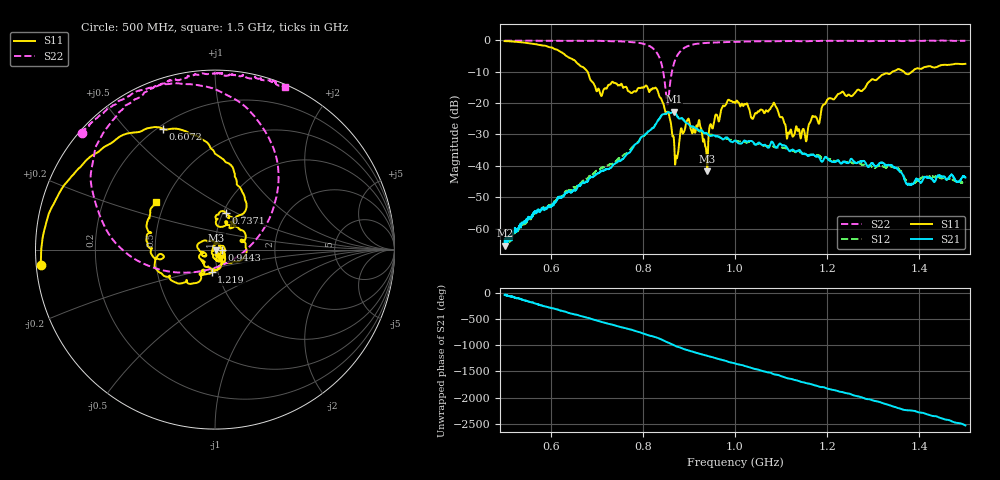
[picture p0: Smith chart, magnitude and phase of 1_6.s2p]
!Agilent Technologies,E8364B,US42250235,A.06.04.32
!Agilent E8364B: A.06.04.32
!Date: Thursday, October 01, 2020 14:56:00
!Correction: S11(Full 2 Port(1,2)) S21(Full 2 Port(1,2)) S12(Full 2 Port(1,2)) S22(Full 2 Port(1,2))
!S2P File: Measurements: S11, S21, S12, S22:
# Hz S  dB  R 50
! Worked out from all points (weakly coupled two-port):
!   2650 points, 500 MHz to 1.5 GHz, reference 50 ohm
!   highest |S21| = -22.76 dB at 867.7 MHz (marker M1); lowest = -65.4 dB at 500.4 MHz (marker M2)
!   lowest |S11| = -41.7 dB at 939.8 MHz (marker M3), VSWR 1.02, Z = 50.8 - j0.288 ohm
!   |S11| at or under -10 dB: 679.9 MHz to 1.342 GHz (661.8 MHz wide, 65.5 % of centre); 1.366 GHz to 1.383 GHz (16.72 MHz wide, 1.22 % of centre)
!   |S22| runs from -20.4 to 0.0 dB; largest |S21 - S12| = 0.005
!   S11 on the Smith chart (normalised r, x): 500 MHz: 0.01, -0.04; 607.2 MHz: 0.22, +0.64; 737.1 MHz: 1.03, +0.44; 944.3 MHz: 1.08, -0.00; 1.219 GHz: 0.94, -0.23; 1.5 GHz: 0.45, +0.29
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5e8  -0.23 -175.1  -63.39 -33.7  -64.91 -23.7  -0.11 138.7
5.003775e8  -0.23 -175.3  -65.45 -26.0  -64.90 -19.6  -0.11 138.7
6.072103e8  -2.69 113.4  -51.62 66.4  -51.45 77.6  -0.12 127.5
6.668554e8  -8.37 71.2  -45.75 -80.1  -45.18 -67.6  -0.16 120.8
7.083805e8  -17.31 70.6  -41.90 176.2  -40.86 -174.0  -0.16 115.5
7.370706e8  -13.53 73.7  -39.51 107.4  -39.05 114.3  -0.30 109.8
8.020008e8  -14.96 37.8  -30.33 -57.0  -30.50 -50.0  -1.11 88.1
8.337108e8  -16.87 -27.7  -25.28 -142.4  -25.47 -143.9  -4.77 52.5
8.533409e8  -22.74 -60.1  -22.99 140.7  -23.09 139.4  -20.44 -63.5
8.676859e8  -32.09 -136.6  -22.76 83.6  -23.13 82.4  -7.29 -171.5
8.737259e8  -37.50 161.8  -24.02 56.1  -24.01 56.4  -5.10 176.1
8.975085e8  -25.19 6.2  -26.52 -13.2  -26.50 -15.6  -1.83 148.6
9.397886e8  -41.68 -20.2  -29.74 -123.0  -29.87 -125.1  -0.80 130.3
9.443186e8  -27.85 -0.7  -30.33 -133.2  -30.06 -134.7  -0.76 129.0
1.000189e9  -19.95 -112.4  -31.94 93.1  -32.02 89.9  -0.49 118.8
1.086259e9  -20.42 156.8  -33.78 -119.0  -34.06 -120.1  -0.29 106.3
1.115704e9  -29.35 92.3  -34.86 165.5  -34.68 166.6  -0.19 105.0
1.166667e9  -24.67 -63.2  -36.43 51.8  -36.53 48.5  -0.21 98.9
1.218762e9  -18.08 -98.5  -38.69 -64.4  -38.52 -74.1  -0.19 92.2
1.333522e9  -10.71 -150.2  -39.72 17.9  -40.16 12.0  -0.18 83.6
1.376935e9  -10.74 -171.1  -45.85 -82.8  -45.73 -97.7  -0.11 77.0
1.5e9  -7.49 141.0  -43.72 -15.3  -45.21 -33.2  -0.14 66.6
